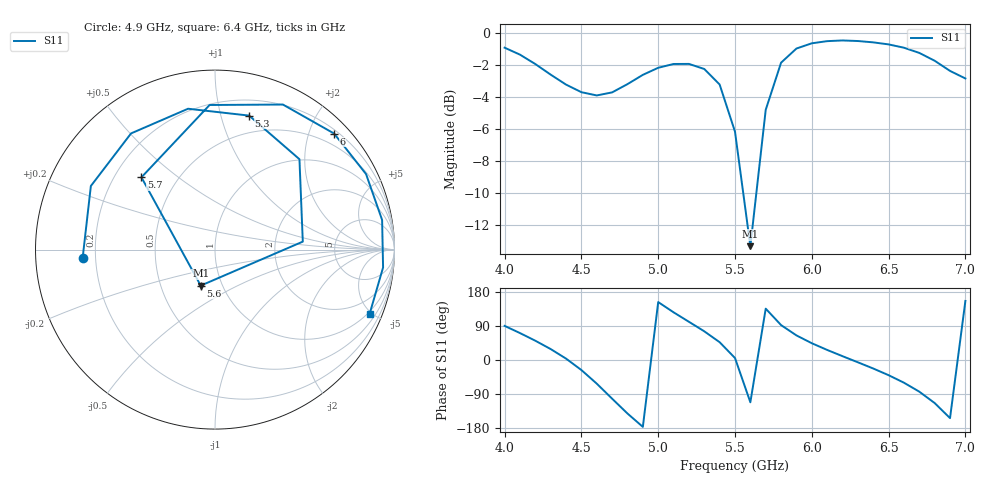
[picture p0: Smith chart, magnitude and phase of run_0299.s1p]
! Touchstone file exported from HFSS 2024.2.0
!  File:  C:/Users/wsak9/Desktop/Sim Fast/Widenad Patch/WP_AI_V1_sweep.aedt
!  Generated:  03:35:57 AM Oct 14, 2026
!  Design:  A1_model
!  Project:  WP_AI_V1_sweep
!  Setup:  Setup1
!  Solution:  Sweep
! Variables:
!  Air_gap = 4.53mm
!  Curve_Amp1 = 2.85
!  Curve_len1 = 1
!  Curve_pos = 11.11mm
!  Extra = 5.41mm
!  H_sub = 0.79mm
!  L_Patch = 18.22mm
!  L_Patch1 = 18.04mm
!  Sx = 0.37mm
!  Sy = 1.16mm
!  WS = 0.89mm
!  W_Patch = 13.02mm
!  W_Patch1 = 12.63mm
!Data is not renormalized
# GHz S MA
! Terminal data exported
! Port[1] = 1
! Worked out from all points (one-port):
!   31 points, 4 GHz to 7 GHz, reference per port
!   lowest |S11| = -13.3 dB at 5.6 GHz (marker M1), VSWR 1.55
!   |S11| at or under -10 dB: 5.554 GHz to 5.639 GHz (85.43 MHz wide, 1.53 % of centre)
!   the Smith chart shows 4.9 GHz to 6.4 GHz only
!   S11 on the Smith chart (normalised r, x): 4.9 GHz: 0.15, -0.03; 5.3 GHz: 0.34, +1.23; 5.6 GHz: 0.79, -0.33; 5.7 GHz: 0.31, +0.37; 6 GHz: 0.27, +2.43; 6.4 GHz: 0.89, -4.88
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4  0.8978 90.0
4.2  0.7982 50.9
4.3  0.7398 28.8
4.4  0.6887 3.7
4.5  0.6522 -26.5
4.6  0.6372 -62.4
4.7  0.6513 -102.1
4.8  0.6911 -141.2
4.9  0.7387 -176.5
5  0.7771 152.9
5.1  0.7986 125.9
5.2  0.799 100.8
5.3  0.7704 75.7
5.4  0.6892 46.9
5.5  0.4912 5.2
5.6  0.2159 -111.6
5.7  0.5746 135.5
5.8  0.8062 92.1
5.9  0.8923 64.9
6  0.9265 44.3
6.1  0.9409 26.6
6.3  0.9417 -6.1
6.4  0.9328 -22.5
6.6  0.8976 -59.9
6.7  0.8647 -83.6
6.8  0.8174 -113.6
6.9  0.7599 -153.4
7  0.7197 155.9
